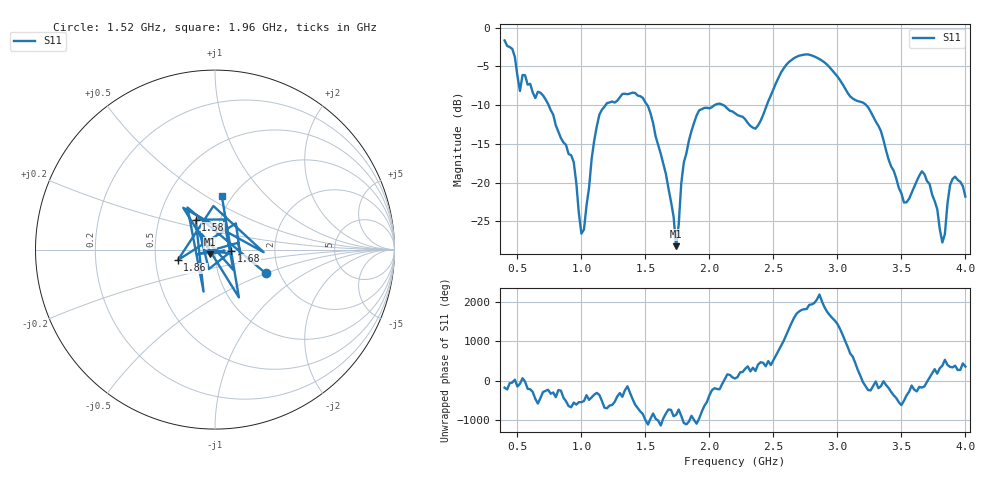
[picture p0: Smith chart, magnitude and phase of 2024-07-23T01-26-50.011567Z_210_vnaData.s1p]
!Created with skrf (http://scikit-rf.org).
# Hz S RI R 50.0
!freq ReS11 ImS11
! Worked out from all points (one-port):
!   181 points, 400 MHz to 4 GHz, reference 50 ohm
!   lowest |S11| = -28.2 dB at 1.74 GHz (marker M1), VSWR 1.08, Z = 47.1 - j2.44 ohm
!   |S11| at or under -10 dB: 743.9 MHz to 1.189 GHz (444.7 MHz wide, 46 % of centre); 1.515 GHz to 2.039 GHz (524.3 MHz wide, 29.5 % of centre); 3.225 GHz to end of sweep (the widest 3 of 4)
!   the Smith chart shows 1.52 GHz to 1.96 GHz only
!   S11 on the Smith chart (normalised r, x): 1.52 GHz: 1.70, -0.50; 1.58 GHz: 0.77, +0.27; 1.68 GHz: 1.20, -0.02; 1.86 GHz: 0.65, -0.08; 1.96 GHz: 0.89, +0.59
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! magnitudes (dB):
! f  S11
! 400 MHz  -1.6
! 480 MHz  -3.8
! 520 MHz  -8.2
! 700 MHz  -8.7
! 860 MHz  -14.8
! 940 MHz  -17.4
! 1 GHz  -26.6
! 1.14 GHz  -11.2
! 1.3 GHz  -9.0
! 1.52 GHz  -10.1
! 1.58 GHz  -14.0
! 1.68 GHz  -20.7
! 1.74 GHz  -28.2
! 1.76 GHz  -25.5
! 1.8 GHz  -17.4
! 1.86 GHz  -13.3
! 1.96 GHz  -10.4
! 2.2 GHz  -11.0
! 2.36 GHz  -13.0
! 2.66 GHz  -3.9
! 2.88 GHz  -4.3
! 3.1 GHz  -8.9
! 3.26 GHz  -10.8
! 3.56 GHz  -22.1
! 3.68 GHz  -18.9
! 3.82 GHz  -27.7
! 3.9 GHz  -19.5
! 4 GHz  -21.8
